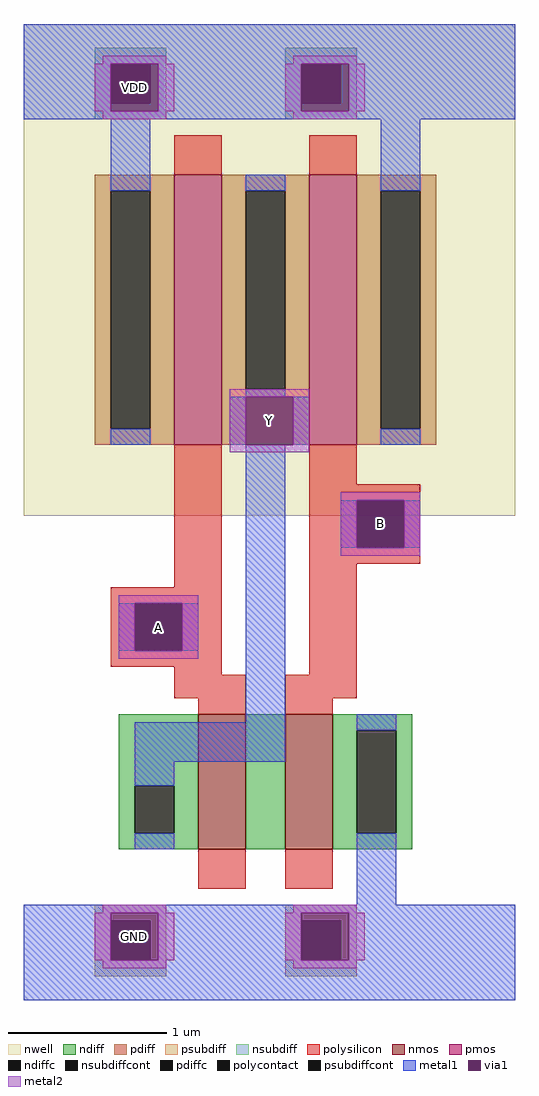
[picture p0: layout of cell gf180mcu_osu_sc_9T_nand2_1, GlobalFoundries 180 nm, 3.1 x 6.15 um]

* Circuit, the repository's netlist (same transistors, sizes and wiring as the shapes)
.option scale=0.05u

.subckt gf180mcu_osu_sc_9T_nand2_1 A B Y
X0 VDD B Y VDD pmos_3p3 w=34 l=6
X1 Y A VDD VDD pmos_3p3 w=34 l=6
X2 a_28_19 A Y GND nmos_3p3 w=17 l=6
X3 GND B a_28_19 GND nmos_3p3 w=17 l=6
.ends

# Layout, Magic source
magic
tech gf180mcuC
<< nwell >>
rect 0 61 62 123
<< nmos >>
rect 22 19 28 36
rect 33 19 39 36
<< pmos >>
rect 19 70 25 104
rect 36 70 42 104
<< ndiff >>
rect 12 27 22 36
rect 12 21 14 27
rect 19 21 22 27
rect 12 19 22 21
rect 28 19 33 36
rect 39 34 49 36
rect 39 21 42 34
rect 47 21 49 34
rect 39 19 49 21
<< pdiff >>
rect 9 102 19 104
rect 9 72 11 102
rect 16 72 19 102
rect 9 70 19 72
rect 25 102 36 104
rect 25 77 28 102
rect 33 77 36 102
rect 25 70 36 77
rect 42 102 52 104
rect 42 72 45 102
rect 50 72 52 102
rect 42 70 52 72
<< ndiffc >>
rect 14 21 19 27
rect 42 21 47 34
<< pdiffc >>
rect 11 72 16 102
rect 28 77 33 102
rect 45 72 50 102
<< psubdiff >>
rect 9 10 18 12
rect 9 5 11 10
rect 16 5 18 10
rect 9 3 18 5
rect 33 10 42 12
rect 33 5 35 10
rect 40 5 42 10
rect 33 3 42 5
<< nsubdiff >>
rect 9 118 18 120
rect 9 113 11 118
rect 16 113 18 118
rect 9 111 18 113
rect 33 118 42 120
rect 33 113 35 118
rect 40 113 42 118
rect 33 111 42 113
<< psubdiffcont >>
rect 11 5 16 10
rect 35 5 40 10
<< nsubdiffcont >>
rect 11 113 16 118
rect 35 113 40 118
<< polysilicon >>
rect 19 104 25 109
rect 36 104 42 109
rect 19 52 25 70
rect 11 50 25 52
rect 11 44 14 50
rect 20 44 25 50
rect 11 42 25 44
rect 19 41 25 42
rect 36 65 42 70
rect 36 63 50 65
rect 36 57 42 63
rect 48 57 50 63
rect 36 55 50 57
rect 36 41 42 55
rect 19 38 28 41
rect 22 36 28 38
rect 33 38 42 41
rect 33 36 39 38
rect 22 14 28 19
rect 33 14 39 19
<< polycontact >>
rect 14 44 20 50
rect 42 57 48 63
<< metal1 >>
rect 0 118 62 123
rect 0 112 11 118
rect 17 112 35 118
rect 41 112 62 118
rect 0 111 62 112
rect 11 102 16 111
rect 28 102 33 104
rect 28 76 33 77
rect 45 102 50 111
rect 11 70 16 72
rect 26 70 28 76
rect 34 70 36 76
rect 45 70 50 72
rect 12 44 14 50
rect 20 44 22 50
rect 28 35 33 70
rect 40 57 42 63
rect 48 57 50 63
rect 14 30 33 35
rect 42 34 47 36
rect 14 27 19 30
rect 14 19 19 21
rect 42 12 47 21
rect 0 11 62 12
rect 0 5 11 11
rect 17 5 35 11
rect 41 5 62 11
rect 0 0 62 5
<< via1 >>
rect 11 113 16 118
rect 16 113 17 118
rect 11 112 17 113
rect 35 113 40 118
rect 40 113 41 118
rect 35 112 41 113
rect 28 70 34 76
rect 14 44 20 50
rect 42 57 48 63
rect 11 10 17 11
rect 11 5 16 10
rect 16 5 17 10
rect 35 10 41 11
rect 35 5 40 10
rect 40 5 41 10
<< metal2 >>
rect 10 118 18 119
rect 34 118 42 119
rect 9 112 11 118
rect 17 112 19 118
rect 33 112 35 118
rect 41 112 43 118
rect 10 111 18 112
rect 34 111 42 112
rect 26 76 36 77
rect 26 70 28 76
rect 34 70 36 76
rect 26 69 36 70
rect 40 63 50 64
rect 40 57 42 63
rect 48 57 50 63
rect 40 56 50 57
rect 12 50 22 51
rect 12 44 14 50
rect 20 44 22 50
rect 12 43 22 44
rect 10 11 18 12
rect 34 11 42 12
rect 9 5 11 11
rect 17 5 19 11
rect 33 5 35 11
rect 41 5 43 11
rect 10 4 18 5
rect 34 4 42 5
<< labels >>
rlabel metal2 14 115 14 115 1 VDD
rlabel metal2 14 8 14 8 1 GND
rlabel metal2 17 47 17 47 1 A
port 1 n
rlabel metal2 31 73 31 73 1 Y
port 3 n
rlabel metal2 45 60 45 60 1 B
port 2 n
<< end >>
